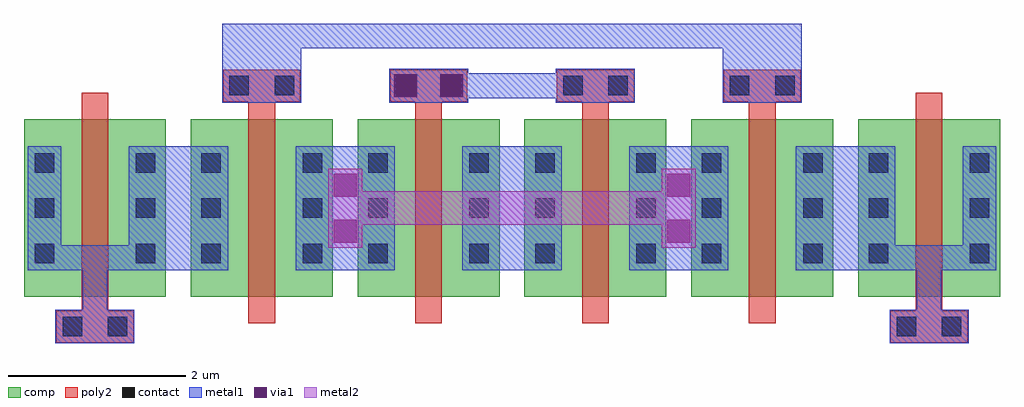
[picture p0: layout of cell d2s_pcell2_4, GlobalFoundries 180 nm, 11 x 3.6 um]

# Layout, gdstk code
import gdstk
lib = gdstk.Library(unit=1e-6, precision=5e-09)
def R(c, l, rs):  # rectangles x0, y0, x1, y1
    for r in rs: c.add(gdstk.rectangle(r[:2], r[2:], *l))
def A(c, l, x, y, w, h, nx, ny, dx, dy):  # array of equal rectangles
    R(c, l, [(x+i*dx, y+j*dy, x+i*dx+w, y+j*dy+h) for i in range(nx) for j in range(ny)])
comp = (22, 0)
poly2 = (30, 0)
contact = (33, 0)
metal1 = (34, 0)
via1 = (35, 0)
metal2 = (36, 0)

d2s_pcell2_1 = lib.new_cell('d2s_pcell2_1')
R(d2s_pcell2_1, comp, [(0,0.3,0.46,2.3), (0.46,0.3,1.14,2.3), (1.14,0.3,1.6,2.3)])
R(d2s_pcell2_1, poly2, [(0.65,0,0.95,2.6)])
A(d2s_pcell2_1, contact, 0.12, 0.68, 0.22, 0.22, 1, 3, 0, 0.51)
A(d2s_pcell2_1, contact, 1.26, 0.68, 0.22, 0.22, 1, 3, 0, 0.51)
R(d2s_pcell2_1, metal1, [(0.04,0.6,0.42,2), (1.18,0.6,1.56,2)])

d2s_pcell2_4 = lib.new_cell('d2s_pcell2_4')
A(d2s_pcell2_4, poly2, 2.245, 2.725, 0.87, 0.36, 4, 1, 1.88, 0)
R(d2s_pcell2_4, poly2, [(0.365,0.01,1.235,0.37), (9.765,0.01,10.635,0.37)])
R(d2s_pcell2_4, contact, [(0.435,0.08,0.655,0.3), (0.945,0.08,1.165,0.3), (9.835,0.08,10.055,0.3), (10.345,0.08,10.565,0.3), (2.315,2.795,2.535,3.015), (2.825,2.795,3.045,3.015), (4.195,2.795,4.415,3.015), (4.705,2.795,4.925,3.015), (6.075,2.795,6.295,3.015), (6.585,2.795,6.805,3.015), (7.955,2.795,8.175,3.015), (8.465,2.795,8.685,3.015)])
A(d2s_pcell2_4, metal1, 1.56, 0.825, 0.36, 1.4, 5, 1, 1.88, 0)
R(d2s_pcell2_4, metal1, [(0.355,0,1.245,0.38), (9.755,0,10.645,0.38), (2.235,2.715,3.125,3.605), (4.115,2.715,5.005,3.095), (5.995,2.715,6.885,3.095), (7.875,2.715,8.765,3.605)])
R(d2s_pcell2_4, via1, [(3.49,1.135,3.75,1.395), (7.25,1.135,7.51,1.395), (3.49,1.655,3.75,1.915), (7.25,1.655,7.51,1.915), (4.17,2.775,4.43,3.035), (4.69,2.775,4.95,3.035)])
R(d2s_pcell2_4, metal2, [(3.43,1.08,3.81,1.97), (7.19,1.08,7.57,1.97)])
d2s_pcell2_4.add(gdstk.FlexPath([(10.2,0.38),(10.2,0.825)], 0.28, ends="flush", simple_path=True, layer=34, datatype=0))  # metal1
d2s_pcell2_4.add(gdstk.FlexPath([(10.58,0.965),(9.82,0.965)], 0.28, ends="flush", simple_path=True, layer=34, datatype=0))  # metal1
d2s_pcell2_4.add(gdstk.FlexPath([(0.8,0.38),(0.8,0.825)], 0.28, ends="flush", simple_path=True, layer=34, datatype=0))  # metal1
d2s_pcell2_4.add(gdstk.FlexPath([(1.18,0.965),(0.42,0.965)], 0.28, ends="flush", simple_path=True, layer=34, datatype=0))  # metal1
d2s_pcell2_4.add(gdstk.FlexPath([(5.995,2.905),(5.005,2.905)], 0.28, ends="flush", simple_path=True, layer=34, datatype=0))  # metal1
d2s_pcell2_4.add(gdstk.FlexPath([(8.765,3.465),(2.235,3.465)], 0.28, ends="flush", simple_path=True, layer=34, datatype=0))  # metal1
d2s_pcell2_4.add(gdstk.FlexPath([(3.81,1.525),(7.19,1.525)], 0.38, ends="flush", simple_path=True, layer=36, datatype=0))  # metal2
d2s_pcell2_4.add(gdstk.Reference(d2s_pcell2_1, (0,0.225)))
d2s_pcell2_4.add(gdstk.Reference(d2s_pcell2_1, (1.88,0.225)))
d2s_pcell2_4.add(gdstk.Reference(d2s_pcell2_1, (3.76,0.225)))
d2s_pcell2_4.add(gdstk.Reference(d2s_pcell2_1, (5.64,0.225)))
d2s_pcell2_4.add(gdstk.Reference(d2s_pcell2_1, (7.52,0.225)))
d2s_pcell2_4.add(gdstk.Reference(d2s_pcell2_1, (9.4,0.225)))

lib.write_gds('d2s_pcell2_4.gds')
